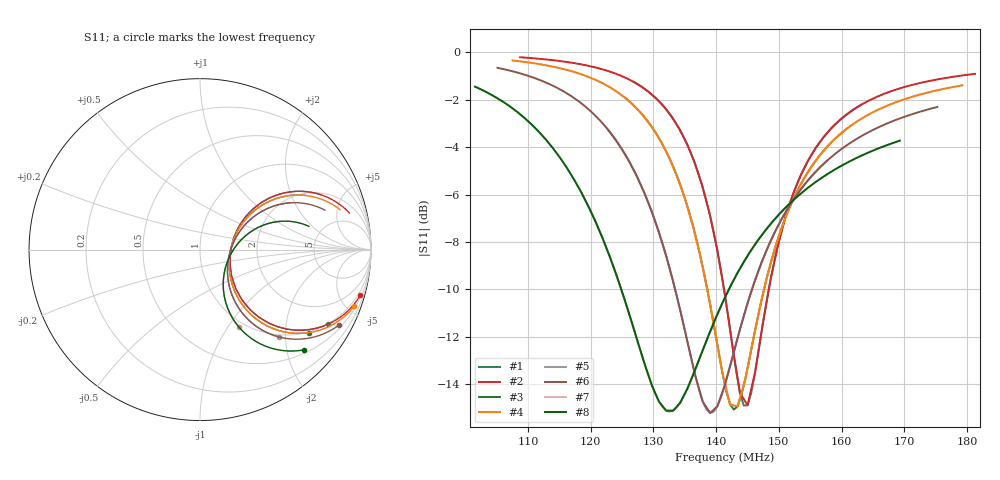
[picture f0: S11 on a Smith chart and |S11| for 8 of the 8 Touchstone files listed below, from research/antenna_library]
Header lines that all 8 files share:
! generated with NEC via necpp
# MHZ S MA R 50
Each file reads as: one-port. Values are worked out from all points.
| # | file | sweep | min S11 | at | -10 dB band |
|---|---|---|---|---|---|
| 1 | dipole_r002_fbw25.s1p | 126.9 MHz to 163.1 MHz | -14.9 dB | 144.4 MHz | 7.122 MHz wide |
| 2 | dipole_r002_fbw50.s1p | 108.8 MHz to 181.3 MHz | -14.9 dB | 145 MHz | 7.139 MHz wide |
| 3 | dipole_r010_fbw25.s1p | 125.5 MHz to 161.4 MHz | -15.1 dB | 142.8 MHz | 9.031 MHz wide |
| 4 | dipole_r010_fbw50.s1p | 107.6 MHz to 179.3 MHz | -14.9 dB | 143.4 MHz | 9.055 MHz wide |
| 5 | dipole_r050_fbw25.s1p | 122.7 MHz to 157.7 MHz | -15.2 dB | 139.1 MHz | 12.24 MHz wide |
| 6 | dipole_r050_fbw50.s1p | 105.2 MHz to 175.3 MHz | -15.2 dB | 139.1 MHz | 12.26 MHz wide |
| 7 | dipole_r200_fbw25.s1p | 118.5 MHz to 152.4 MHz | -15.2 dB | 132.6 MHz | 17.14 MHz wide |
| 8 | dipole_r200_fbw50.s1p | 101.6 MHz to 169.3 MHz | -15.1 dB | 133.2 MHz | 17.15 MHz wide |
